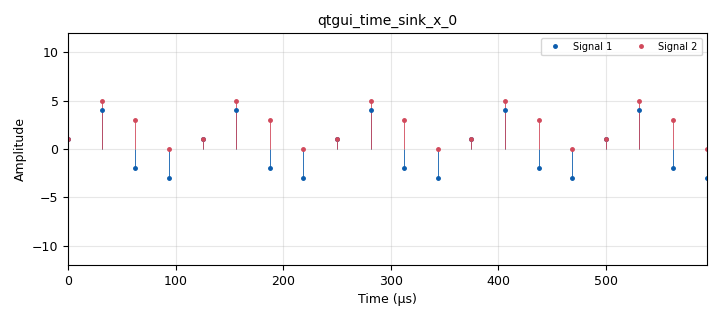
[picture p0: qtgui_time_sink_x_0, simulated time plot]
options:
  parameters:
    generate_options: qt_gui
    id: Acumulador
    output_language: python
    title: Not titled yet
  states: {}

blocks:
- name: samp_rate
  id: variable
  parameters:
    value: '32000'
  states: {}
- name: blocks_vector_source_x_0
  id: blocks_vector_source_x
  parameters:
    repeat: 'True'
    type: float
    vector: (1, 4, -2, -3)
  states: {}
- name: epy_block_0
  id: epy_block
  parameters:
    _source_code: |-
      """
      Embedded Python Blocks:

      Each time this file is saved, GRC will instantiate the first class it finds
      to get ports and parameters of your block. The arguments to __init__  will
      be the parameters. All of them are required to have default values!
      """

      import numpy as np
      from gnuradio import gr

      class blk(gr.sync_block):
          
          def __init__(self):  # only default arguments here
              gr.sync_block.__init__(
                  self,
                  name="e_Acum",  # will show up in GRC
                  in_sig=[np.float32],
                  out_sig=[np.float32]
              )
              self.accumulated_value = 0.0  # Inicializamos la acumulación en 0

          def work(self, input_items, output_items):
              x = input_items[0]  # Señal de entrada.
              y0 = output_items[0]  # Señal acumulada
              
              # Acumular la señal y mantener el estado entre llamadas
              y0[:] = np.cumsum(x) + self.accumulated_value
              self.accumulated_value = y0[-1]  # Actualizar la acumulación para la próxima llamada
              
              return len(x)
  states: {}
- name: epy_block_1
  id: epy_block
  parameters:
    _source_code: |-
      """
      Embedded Python Blocks:

      Each time this file is saved, GRC will instantiate the first class it finds
      to get ports and parameters of your block. The arguments to __init__  will
      be the parameters. All of them are required to have default values!
      """

      import numpy as np
      from gnuradio import gr

      class blk( gr.sync_block ):

          def __init__ ( self ) : # only default arguments here

              gr.sync_block.__init__(
                  self,
                  name = "e_Diff", # will show up in GRC
                  in_sig = [ np.float32 ],
                  out_sig = [ np.float32 ]
              )
              self.acum_anterior = 0


          def work ( self , input_items , output_items ) :

              x = input_items [0] # Senial de entrada .
              y0 = output_items [0] # Senial acumulada d i f e r e n c i a l
              N = len ( x )
              
              diff = np.cumsum ( x ) - self . acum_anterior
              self . acum_anterior = diff [N -1]
              y0 [:] = diff
              return len ( y0 )
  states: {state: disabled}
- name: qtgui_time_sink_x_0
  id: qtgui_time_sink_x
  parameters:
    marker1: '0'
    marker2: '0'
    nconnections: '2'
    size: '20'
    srate: samp_rate
    stemplot: 'True'
    type: float
    ymax: '12'
    ymin: '-12'
  states: {}

connections:
- [blocks_vector_source_x_0, '0', epy_block_0, '0']
- [blocks_vector_source_x_0, '0', qtgui_time_sink_x_0, '0']
- [epy_block_0, '0', qtgui_time_sink_x_0, '1']

metadata:
  file_format: 1
